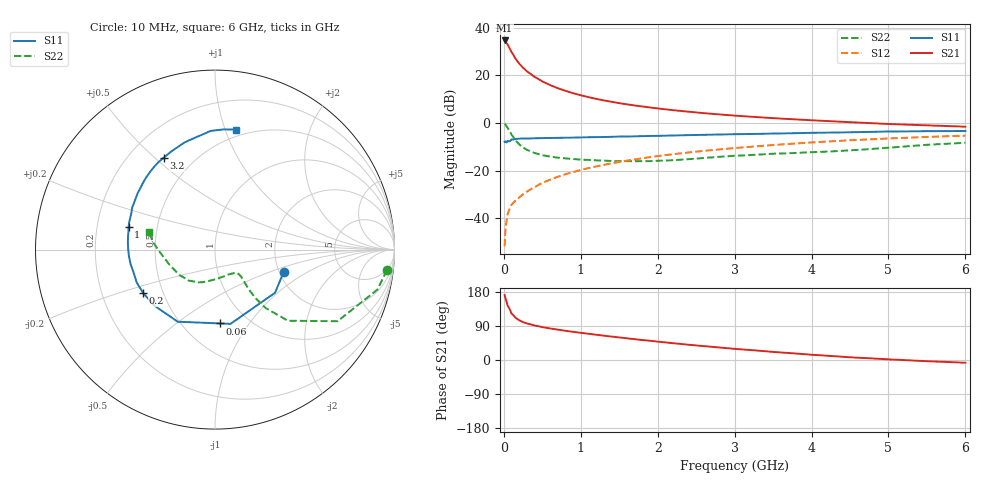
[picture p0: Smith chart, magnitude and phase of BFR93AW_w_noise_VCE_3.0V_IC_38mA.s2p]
! Infineon Technologies  Discrete & RF Semiconductors
! BFR93AW
! VCE =  3.0 V,  IC =  38 mA
! Common Emitter S-Parameters:  Jan 2017
# GHz  S  MA  R  50
!  f  S11  S21  S12  S22
! GHz  MAG  ANG  MAG  ANG  MAG  ANG  MAG  ANG
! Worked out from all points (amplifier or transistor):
!   77 points, 10 MHz to 6 GHz, reference 50 ohm
!   highest |S21| = 34.6 dB at 10 MHz (marker M1)
!   |S21| within 3 dB of that: start of sweep to 70.08 MHz
!   unconditionally stable (mu >= 1): 493.1 MHz to 2.087 GHz
!   at 130 MHz: K = 0.61, MSG = 30.7 dB, |S12| = -33.3 dB
!   at 2.2 GHz: K = 0.99, MSG = 9.2 dB, |S12| = -13.1 dB
!   at 6 GHz: K = 0.90, MSG = 1.9 dB, |S12| = -5.3 dB
!   lowest NFmin = 1.99 dB at 450 MHz
!   S11 on the Smith chart (normalised r, x): 10 MHz: 2.11, -0.63; 60 MHz: 0.74, -0.74; 200 MHz: 0.39, -0.24; 1 GHz: 0.34, +0.11; 3.2 GHz: 0.34, +0.53; 6 GHz: 0.44, +1.09
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0.01  0.4022 -18.3  53.77 171.3  0.0026 87.6  0.9641 -6.8
0.02  0.4122 -35.7  52.57 163.4  0.0054 80.1  0.9323 -13.8
0.05  0.4226 -78.2  43.9 142.9  0.0123 66.5  0.7909 -30.3
0.06  0.4122 -86.2  40.93 139.9  0.0137 64.8  0.7437 -32.4
0.1  0.4523 -117.3  30.7 122.5  0.0192 60.6  0.5689 -44.2
0.15  0.4605 -137.5  22.54 111.6  0.0233 59.9  0.433 -49.0
0.2  0.4675 -149.0  17.57 104.8  0.0275 62.5  0.3554 -50.1
0.25  0.4733 -157.1  14.38 99.8  0.0319 63.4  0.3067 -49.8
0.3  0.471 -162.7  12.1 96.4  0.0363 65.2  0.2728 -49.0
0.4  0.4776 -170.5  9.235 90.9  0.0449 68.1  0.2336 -47.4
0.5  0.4811 -176.0  7.436 86.8  0.0553 69.6  0.2109 -46.1
0.6  0.484 179.3  6.247 83.3  0.0643 70.5  0.1968 -45.9
0.7  0.4872 175.3  5.37 80.2  0.0741 71.4  0.1873 -46.0
1  0.4972 165.5  3.812 71.7  0.103 71.1  0.1698 -49.6
1.1  0.5015 162.8  3.481 69.2  0.113 70.7  0.1677 -51.6
1.5  0.518 152.9  2.602 59.6  0.152 68.4  0.1579 -62.9
2.1  0.5406 139.7  1.933 46.5  0.2112 63.4  0.1627 -86.1
3.1  0.583 121.0  1.391 27.9  0.3065 53.6  0.208 -119.8
3.2  0.5862 119.2  1.357 26.4  0.3157 52.5  0.2119 -122.6
4.1  0.6234 104.3  1.118 12.6  0.3984 43.0  0.2468 -148.4
5.1  0.6632 90.7  0.938 0.8  0.4793 31.8  0.3108 -178.3
6  0.6783 80.3  0.835 -7.2  0.5413 21.7  0.3837 164.8
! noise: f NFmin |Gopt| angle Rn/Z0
0.45  1.99  0.22  179  0.16
0.9  2.27  0.28  -171  0.17
1.9  3.33  0.52  -133  0.34
2.4  4.02  0.56  -123  0.63
